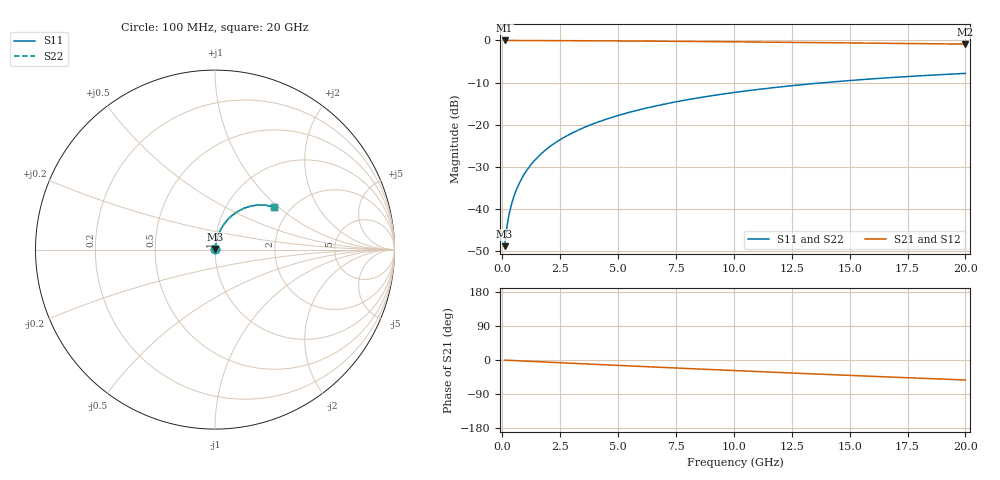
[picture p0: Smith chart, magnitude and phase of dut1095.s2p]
! Touchstone file exported from HFSS 2026.1.0
!  File:  C:/ffzhzh/LocalFiles/Ansys_Project_Files/temp_train_TMRDL_1095_1783161149_43440.aedt
!  Generated:  06:33:56 PM Jul  4, 2026
!  Design:  TMRDL
!  Project:  temp_train_TMRDL_1095_1783161149_43440
! Variables:
!  h_bsmrdl = 2um
!  h_ox = 20um
!  h_rdl = 5um
!  h_sub = 80um
!  h_tmrdl = 5.98um
!  h_tsv = 80um
!  h_via = 3um
!  l_bsmrdl = 300um
!  l_sub = 1237.17um
!  l_tmrdl = 837.17um
!  m_sub = 200um
!  pitch = 53.86um
!  r_tsv = 6um
!  s_tmrdl = 10um
!  w_bsmrdl = 18um
!  w_sub = 500um
!  w_tmrdl = 26.25um
!  x_tsv_center1 = 850.295um
!  x_tsv_center2 = 1168.295um
!  x_tsv_center3 = 2031.715um
!  x_tsv_center4 = 2349.715um
!  x_tsv_center5 = 3213.135um
!  x_tsv_center6 = 3531.135um
# GHz S MA R 50.000000
! Terminal data exported
! Port[1] = TM_RDL1_1_T1
! Port[2] = TM_RDL1_1_T2
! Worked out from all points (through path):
!   200 points, 100 MHz to 20 GHz, reference 50 ohm
!   highest |S21| = -0.02 dB at 100 MHz (marker M1); lowest = -0.9 dB at 20 GHz (marker M2)
!   group delay of S21, straight-line fit = 7.32 ps
!   lowest |S11| = -48.9 dB at 100 MHz (marker M3), VSWR 1.01, Z = 50.2 + j0.294 ohm
!   |S11| at or under -10 dB: start of sweep to 13.97 GHz
!   |S22| runs from -48.9 to -7.8 dB; largest |S21 - S12| = 1.5e-14
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0.1  0.003608 54.1  0.9979 -0.3  0.9979 -0.3  0.003608 54.1
! Gamma 0 0 0 0
! Port Impedance 50 0 50 0
0.2  0.006169 67.7  0.9977 -0.6  0.9977 -0.6  0.006169 67.7
0.3  0.008774 73.0  0.9975 -0.9  0.9975 -0.9  0.008774 73.0
0.4  0.01138 75.9  0.9974 -1.2  0.9974 -1.2  0.01138 75.9
0.5  0.014 77.7  0.9973 -1.5  0.9973 -1.5  0.014 77.7
0.7  0.01926 79.7  0.9971 -2.1  0.9971 -2.1  0.01926 79.7
0.8  0.02191 80.2  0.997 -2.3  0.997 -2.3  0.02191 80.2
1  0.02719 80.8  0.9967 -2.9  0.9967 -2.9  0.02719 80.8
1.2  0.03248 81.0  0.9964 -3.5  0.9964 -3.5  0.03248 81.0
1.4  0.03775 80.9  0.9961 -4.1  0.9961 -4.1  0.03775 80.9
1.7  0.04563 80.6  0.9955 -5.0  0.9955 -5.0  0.04563 80.6
2  0.05345 80.1  0.9948 -5.8  0.9948 -5.8  0.05345 80.1
2.7  0.07145 78.6  0.993 -7.8  0.993 -7.8  0.07145 78.6
3.5  0.09162 76.6  0.9905 -10.1  0.9905 -10.1  0.09162 76.6
4.2  0.1089 74.9  0.9882 -12.0  0.9882 -12.0  0.1089 74.9
5  0.1283 72.8  0.9852 -14.3  0.9852 -14.3  0.1283 72.8
6.8  0.1706 68.2  0.9777 -19.2  0.9777 -19.2  0.1706 68.2
8.3  0.2043 64.4  0.9706 -23.3  0.9706 -23.3  0.2043 64.4
10.1  0.2425 59.8  0.9611 -28.1  0.9611 -28.1  0.2426 59.8
13.4  0.3062 51.5  0.9421 -36.7  0.9421 -36.7  0.3062 51.5
16.7  0.3606 43.5  0.9222 -44.9  0.9222 -44.9  0.3606 43.5
20  0.4056 35.8  0.9032 -52.7  0.9032 -52.7  0.4056 35.8
